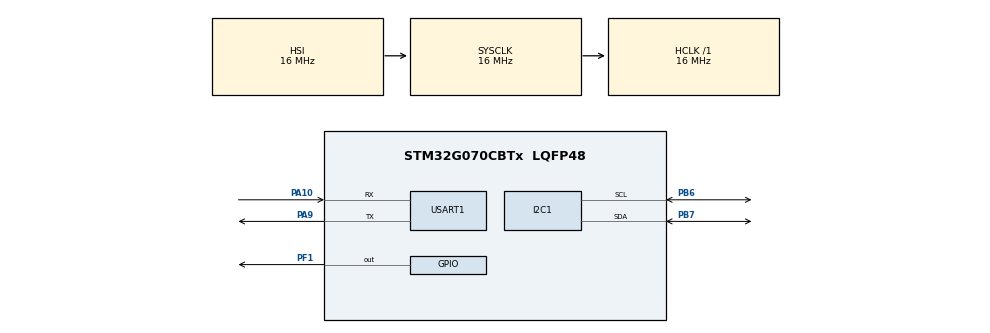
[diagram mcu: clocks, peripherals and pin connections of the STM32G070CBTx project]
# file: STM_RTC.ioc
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I2C1.Timing=0x00503D58
Mcu.Family=STM32G0
Mcu.Name=STM32G070CBTx
Mcu.Package=LQFP48
NVIC.I2C1_IRQn=true\:0\:0\:false\:false\:true\:true\:true\:true
NVIC.USART1_IRQn=true\:0\:0\:false\:false\:true\:true\:true\:true
PA10.Mode=Asynchronous
PA10.Signal=USART1_RX
PA9\ [PA11].Mode=Asynchronous
PA9\ [PA11].Signal=USART1_TX
PB6.Mode=I2C
PB6.Signal=I2C1_SCL
PB7.Mode=I2C
PB7.Signal=I2C1_SDA
PF1-OSC_OUT\ (PF1).Signal=GPIO_Output
ProjectManager.HeapSize=0x200
ProjectManager.StackSize=0x400
ProjectManager.TargetToolchain=STM32CubeIDE
RCC.AHBFreq_Value=16000000
RCC.CortexFreq_Value=16000000
RCC.EXTERNAL_CLOCK_VALUE=48000
RCC.HCLKFreq_Value=16000000
RCC.HSE_VALUE=8000000
RCC.HSI_VALUE=16000000
RCC.LSE_VALUE=32768
RCC.SYSCLKFreq_VALUE=16000000
RCC.VCOOutputFreq_Value=128000000
USART1.VirtualMode-Asynchronous=VM_ASYNC
VP_SYS_VS_PINREMAP.Mode=PINREMAP
board=custom

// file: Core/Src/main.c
/* USER CODE BEGIN Header */
/**
  ******************************************************************************
  * @file           : main.c
  * @brief          : Main program body
  ******************************************************************************
  * @attention
  *
  * Copyright (c) 2026 STMicroelectronics.
  * All rights reserved.
  *
  * This software is licensed under terms that can be found in the LICENSE file
  * in the root directory of this software component.
  * If no LICENSE file comes with this software, it is provided AS-IS.
  *
  ******************************************************************************
  */
/* USER CODE END Header */
#include "main.h"

/* USER CODE BEGIN Includes */
#include "ds1307.h"
/* USER CODE END Includes */

I2C_HandleTypeDef hi2c1;

UART_HandleTypeDef huart1;

/* USER CODE BEGIN PV */
int __io_putchar(int ch) {
    HAL_UART_Transmit(&huart1, (uint8_t*)&ch, 1, HAL_MAX_DELAY);
    return ch;
}
/* USER CODE END PV */

void SystemClock_Config(void);
static void MX_GPIO_Init(void);
static void MX_I2C1_Init(void);
static void MX_USART1_UART_Init(void);

/* USER CODE BEGIN 0 */
void rtc_test(void) {
    uint8_t reg = 0x00;
    uint8_t data[7];

    if (HAL_I2C_Master_Transmit(&hi2c1, DS1307_ADDR, &reg, 1, HAL_MAX_DELAY) != HAL_OK) {
        printf("RTC transmit failed!\r\n");
        return;
    }

    if (HAL_I2C_Master_Receive(&hi2c1, DS1307_ADDR, data, 7, HAL_MAX_DELAY) != HAL_OK) {
        printf("RTC receive failed!\r\n");
        return;
    }

    printf("Raw seconds reg: 0x%02X\r\n", data[0]);

    if (data[0] & 0x80) {
        printf("⚠ RTC oscillator STOPPED (CH bit = 1)\r\n");
    } else {
        printf("✅ RTC oscillator RUNNING (CH bit = 0)\r\n");
    }
}

/* USER CODE END 0 */

int main(void)
{

  /* MCU Configuration--------------------------------------------------------*/

  /* Reset of all peripherals, Initializes the Flash interface and the Systick. */
  HAL_Init();

  /* Configure the system clock */
  SystemClock_Config();

  /* Initialize all configured peripherals */
  MX_GPIO_Init();
  MX_I2C1_Init();
  MX_USART1_UART_Init();
  /* USER CODE BEGIN 2 */
  HAL_GPIO_WritePin(GPIOF, GPIO_PIN_1, GPIO_PIN_RESET);
   HAL_Delay(500);

#if 0

DS1307_Time setTime = {00, 10, 16, 19, 6, 26}; // 16:10:00, 19/06/26

  if (DS1307_SetTime(&hi2c1, &setTime) == HAL_OK)

       {
         printf("RTC set successfully!\r\n");
       }
#endif
  /* USER CODE END 2 */

  /* Infinite loop */
  while (1)
  {

    /* USER CODE BEGIN 3 */
	  rtc_test();   // CH bit + raw seconds print karega
	      HAL_Delay(1000);

	  char msg[] = "Hello from STM32!\r\n";
	  HAL_UART_Transmit(&huart1, (uint8_t*)msg, strlen(msg), HAL_MAX_DELAY);

	  rtc_debug();   // print RTC time only when called
	         HAL_Delay(1000);
  }
  /* USER CODE END 3 */
}

void SystemClock_Config(void)
{
  RCC_OscInitTypeDef RCC_OscInitStruct = {0};
  RCC_ClkInitTypeDef RCC_ClkInitStruct = {0};

  /** Configure the main internal regulator output voltage
  */
  HAL_PWREx_ControlVoltageScaling(PWR_REGULATOR_VOLTAGE_SCALE1);

  /** Initializes the RCC Oscillators according to the specified parameters
  * in the RCC_OscInitTypeDef structure.
  */
  RCC_OscInitStruct.OscillatorType = RCC_OSCILLATORTYPE_HSI;
  RCC_OscInitStruct.HSIState = RCC_HSI_ON;
  RCC_OscInitStruct.HSIDiv = RCC_HSI_DIV1;
  RCC_OscInitStruct.HSICalibrationValue = RCC_HSICALIBRATION_DEFAULT;
  RCC_OscInitStruct.PLL.PLLState = RCC_PLL_NONE;
  if (HAL_RCC_OscConfig(&RCC_OscInitStruct) != HAL_OK)
  {
    Error_Handler();
  }

  /** Initializes the CPU, AHB and APB buses clocks
  */
  RCC_ClkInitStruct.ClockType = RCC_CLOCKTYPE_HCLK|RCC_CLOCKTYPE_SYSCLK
                              |RCC_CLOCKTYPE_PCLK1;
  RCC_ClkInitStruct.SYSCLKSource = RCC_SYSCLKSOURCE_HSI;
  RCC_ClkInitStruct.AHBCLKDivider = RCC_SYSCLK_DIV1;
  RCC_ClkInitStruct.APB1CLKDivider = RCC_HCLK_DIV1;

  if (HAL_RCC_ClockConfig(&RCC_ClkInitStruct, FLASH_LATENCY_0) != HAL_OK)
  {
    Error_Handler();
  }
}

static void MX_I2C1_Init(void)
{

  hi2c1.Instance = I2C1;
  hi2c1.Init.Timing = 0x00503D58;
  hi2c1.Init.OwnAddress1 = 0;
  hi2c1.Init.AddressingMode = I2C_ADDRESSINGMODE_7BIT;
  hi2c1.Init.DualAddressMode = I2C_DUALADDRESS_DISABLE;
  hi2c1.Init.OwnAddress2 = 0;
  hi2c1.Init.OwnAddress2Masks = I2C_OA2_NOMASK;
  hi2c1.Init.GeneralCallMode = I2C_GENERALCALL_DISABLE;
  hi2c1.Init.NoStretchMode = I2C_NOSTRETCH_DISABLE;
  if (HAL_I2C_Init(&hi2c1) != HAL_OK)
  {
    Error_Handler();
  }

  /** Configure Analogue filter
  */
  if (HAL_I2CEx_ConfigAnalogFilter(&hi2c1, I2C_ANALOGFILTER_ENABLE) != HAL_OK)
  {
    Error_Handler();
  }

  /** Configure Digital filter
  */
  if (HAL_I2CEx_ConfigDigitalFilter(&hi2c1, 0) != HAL_OK)
  {
    Error_Handler();
  }

}

static void MX_USART1_UART_Init(void)
{

  huart1.Instance = USART1;
  huart1.Init.BaudRate = 115200;
  huart1.Init.WordLength = UART_WORDLENGTH_8B;
  huart1.Init.StopBits = UART_STOPBITS_1;
  huart1.Init.Parity = UART_PARITY_NONE;
  huart1.Init.Mode = UART_MODE_TX_RX;
  huart1.Init.HwFlowCtl = UART_HWCONTROL_NONE;
  huart1.Init.OverSampling = UART_OVERSAMPLING_16;
  huart1.Init.OneBitSampling = UART_ONE_BIT_SAMPLE_DISABLE;
  huart1.Init.ClockPrescaler = UART_PRESCALER_DIV1;
  huart1.AdvancedInit.AdvFeatureInit = UART_ADVFEATURE_NO_INIT;
  if (HAL_UART_Init(&huart1) != HAL_OK)
  {
    Error_Handler();
  }
  if (HAL_UARTEx_SetTxFifoThreshold(&huart1, UART_TXFIFO_THRESHOLD_1_8) != HAL_OK)
  {
    Error_Handler();
  }
  if (HAL_UARTEx_SetRxFifoThreshold(&huart1, UART_RXFIFO_THRESHOLD_1_8) != HAL_OK)
  {
    Error_Handler();
  }
  if (HAL_UARTEx_DisableFifoMode(&huart1) != HAL_OK)
  {
    Error_Handler();
  }

}

static void MX_GPIO_Init(void)
{
  GPIO_InitTypeDef GPIO_InitStruct = {0};

  /* GPIO Ports Clock Enable */
  __HAL_RCC_GPIOF_CLK_ENABLE();
  __HAL_RCC_GPIOA_CLK_ENABLE();
  __HAL_RCC_GPIOB_CLK_ENABLE();

  /*Configure GPIO pin Output Level */
  HAL_GPIO_WritePin(GPIOF, GPIO_PIN_1, GPIO_PIN_RESET);

  /*Configure GPIO pin : PF1 */
  GPIO_InitStruct.Pin = GPIO_PIN_1;
  GPIO_InitStruct.Mode = GPIO_MODE_OUTPUT_PP;
  GPIO_InitStruct.Pull = GPIO_NOPULL;
  GPIO_InitStruct.Speed = GPIO_SPEED_FREQ_LOW;
  HAL_GPIO_Init(GPIOF, &GPIO_InitStruct);

}

/* USER CODE BEGIN 4 */
void rtc_debug(void) {
      DS1307_Time t;
      if (DS1307_GetTime(&hi2c1, &t) == HAL_OK) {
          printf("RTC OK: %02d/%02d/%02d %02d:%02d:%02d\r\n",
                 t.date, t.month, t.year,
                 t.hours, t.minutes, t.seconds);
      } else {
          printf("RTC read failed!\r\n");
      }
  }

/* USER CODE END 4 */

void Error_Handler(void)
{
  __disable_irq();
  while (1)
  {
  }
}
